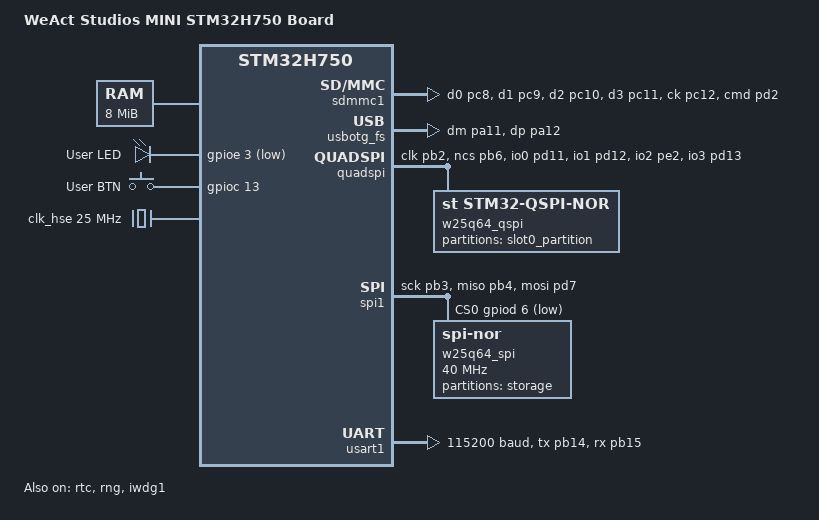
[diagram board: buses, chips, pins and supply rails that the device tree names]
/*
 * Copyright (c) 2023-2024 STMicroelectronics
 *
 * SPDX-License-Identifier: Apache-2.0
 */

/dts-v1/;
#include <st/h7/stm32h750Xb.dtsi>
#include <st/h7/stm32h750vbtx-pinctrl.dtsi>
#include <zephyr/dt-bindings/input/input-event-codes.h>
#include <zephyr/dt-bindings/mipi_dbi/mipi_dbi.h>

/ {
	model = "WeAct Studios MINI STM32H750 Board";
	compatible = "weact,mini-stm32h750";

	chosen {
		zephyr,console = &usart1;
		zephyr,shell-uart = &usart1;
		zephyr,sram = &sram0;
		zephyr,flash = &w25q64_qspi;
		zephyr,flash-controller = &w25q64_qspi;
		zephyr,code-partition = &slot0_partition;
	};

	ext_memory: memory@90000000 {
		compatible = "zephyr,memory-region";
		reg = <0x90000000 DT_SIZE_M(8)>;
		zephyr,memory-region = "FLASH";
		zephyr,memory-attr = <( DT_MEM_ARM(ATTR_MPU_IO) )>;
	};

	leds {
		compatible = "gpio-leds";
		user_led: led {
			gpios = <&gpioe 3 GPIO_ACTIVE_LOW>;
			label = "User LED";
		};
	};

	gpio_keys {
		compatible = "gpio-keys";
		user_button: button {
			label = "User BTN";
			gpios = <&gpioc 13 (GPIO_ACTIVE_HIGH | GPIO_PULL_DOWN)>;
			zephyr,code = <INPUT_KEY_0>;
		};
	};

	aliases {
		led0 = &user_led;
		sw0 = &user_button;
		watchdog0 = &iwdg;
		sdhc0 = &sdmmc1;
	};
};

&clk_lsi {
	status = "okay";
};

&clk_hsi48 {
	status = "okay";
};

&clk_hse {
	clock-frequency = <DT_FREQ_M(25)>;
	status = "okay";
};

&clk_lse {
	status = "okay";
};

&pll {
	div-m = <5>;
	mul-n = <192>;
	div-p = <2>;
	div-q = <4>;
	div-r = <4>;
	clocks = <&clk_hse>;
	status = "okay";
};

&rcc {
	clocks = <&pll>;
	clock-frequency = <DT_FREQ_M(480)>;
	d1cpre = <1>;
	hpre = <2>;
	d1ppre = <2>;
	d2ppre1 = <2>;
	d2ppre2 = <2>;
	d3ppre = <2>;
};

&sdmmc1 {
	pinctrl-0 = <&sdmmc1_d0_pc8 &sdmmc1_d1_pc9
		     &sdmmc1_d2_pc10 &sdmmc1_d3_pc11
		     &sdmmc1_ck_pc12 &sdmmc1_cmd_pd2>;
	pinctrl-names = "default";
	cd-gpios = <&gpiod 4 (GPIO_ACTIVE_HIGH | GPIO_PULL_UP)>;
	status = "okay";
};

zephyr_udc0: &usbotg_fs {
	pinctrl-0 = <&usb_otg_fs_dm_pa11 &usb_otg_fs_dp_pa12>;
	pinctrl-names = "default";
	status = "okay";

	usb_cdc_acm_uart: cdc_acm_uart {
		compatible = "zephyr,cdc-acm-uart";
	};
};

&quadspi {
	pinctrl-names = "default";
	pinctrl-0 = <&quadspi_clk_pb2 &quadspi_bk1_ncs_pb6
		&quadspi_bk1_io0_pd11 &quadspi_bk1_io1_pd12
		&quadspi_bk1_io2_pe2 &quadspi_bk1_io3_pd13>;
	flash-id = <1>;
	status = "okay";

	w25q64_qspi: qspi-nor-flash@90000000 {
		compatible = "st,stm32-qspi-nor";
		reg = <0x90000000 DT_SIZE_M(64)>; /* 64 Mbits */
		qspi-max-frequency = <40000000>;
		status = "okay";
		spi-bus-width = <4>;
		writeoc = "PP_1_1_4";

		partitions {
			compatible = "fixed-partitions";
			#address-cells = <1>;
			#size-cells = <1>;
			slot0_partition: partition@0 {
				reg = <0x00000000 DT_SIZE_M(64)>;
			};
		};
	};
};

&spi1 {
	pinctrl-0 = <&spi1_sck_pb3 &spi1_miso_pb4 &spi1_mosi_pd7>;
	cs-gpios = <&gpiod 6 GPIO_ACTIVE_LOW>;
	pinctrl-names = "default";
	status = "okay";
	w25q64_spi: spi-nor-flash@0 {
		compatible = "jedec,spi-nor";
		reg = <0>;
		spi-max-frequency = <40000000>;
		size = <DT_SIZE_M(64)>; /* 64 Mbits */
		status = "okay";
		jedec-id = [ef 40 17];
		has-dpd;
		t-enter-dpd = <3500>;
		t-exit-dpd = <3500>;
		partitions {
			compatible = "fixed-partitions";
			#address-cells = <1>;
			#size-cells = <1>;
			storage_partition: partition@0 {
				label = "storage";
				reg = <0x00000000 DT_SIZE_M(64)>;
			};
		};
	};
};


&usart1 {
	pinctrl-0 = <&usart1_tx_pb14 &usart1_rx_pb15>;
	pinctrl-names = "default";
	current-speed = <115200>;
	status = "okay";
};

&rtc {
	clocks = <&rcc STM32_CLOCK_BUS_APB4 0x00010000>,
		 <&rcc STM32_SRC_LSE RTC_SEL(1)>;
	status = "okay";
};

&rng {
	status = "okay";
};

&backup_sram {
	status = "okay";
};

&iwdg1 {
	status = "okay";
};
